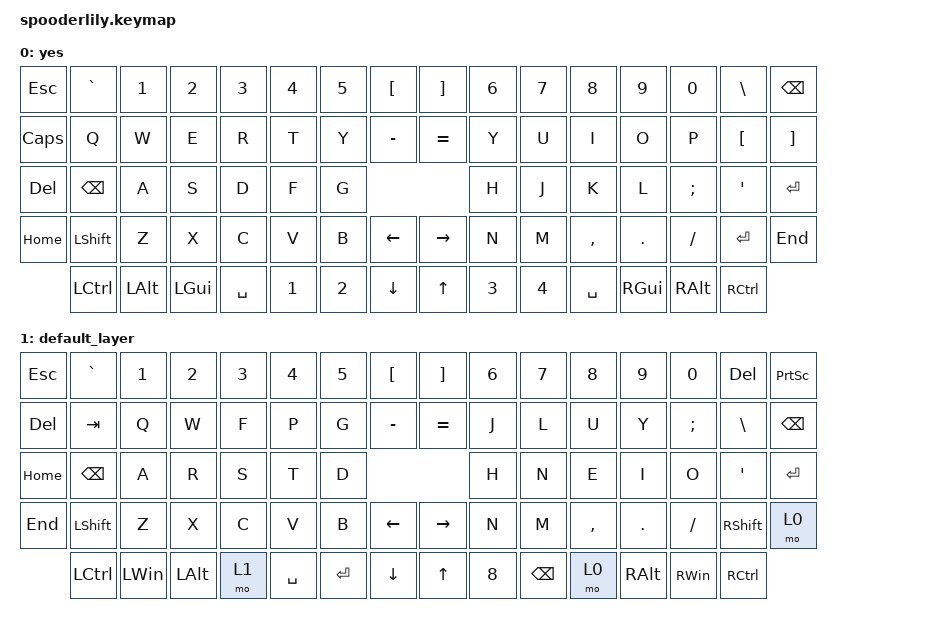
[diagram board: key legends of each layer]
/*
 * Copyright (c) 2020 The ZMK Contributors
 *
 * SPDX-License-Identifier: MIT
 */

#include <behaviors.dtsi>
#include <dt-bindings/zmk/keys.h>

/ {
    keymap {
        compatible = "zmk,keymap";

        yes {
            bindings = <
&kp ESC   &kp GRAVE  &kp N1    &kp N2    &kp N3     &kp N4  &kp N5  &kp LBKT   &kp RBKT   &kp N6  &kp N7  &kp N8     &kp N9    &kp N0    &kp BSLH   &kp BSPC
&kp CAPS  &kp Q      &kp W     &kp E     &kp R      &kp T   &kp Y   &kp MINUS  &kp EQUAL  &kp Y   &kp U   &kp I      &kp O     &kp P     &kp LBKT   &kp RBKT
&kp DEL   &kp BSPC   &kp A     &kp S     &kp D      &kp F   &kp G                         &kp H   &kp J   &kp K      &kp L     &kp SEMI  &kp SQT    &kp RET
&kp HOME  &kp LSHFT  &kp Z     &kp X     &kp C      &kp V   &kp B   &kp LEFT   &kp RIGHT  &kp N   &kp M   &kp COMMA  &kp DOT   &kp FSLH  &kp ENTER  &kp END
          &kp LCTRL  &kp LALT  &kp LGUI  &kp SPACE  &kp N1  &kp N2  &kp DOWN   &kp UP     &kp N3  &kp N4  &kp SPACE  &kp RGUI  &kp RALT  &kp RCTRL
            >;
        };

        default_layer {
            // ------------------------------------------------------------------------------------------------------------
            // |  ESC  |  1  |  2  |  3   |  4   |  5   |                   |  6   |  7    |  8    |  9   |   0   |   `   |
            // |  TAB  |  Q  |  W  |  E   |  R   |  T   |                   |  Y   |  U    |  I    |  O   |   P   |   -   |
            // |  CTRL |  A  |  S  |  D   |  F   |  G   |                   |  H   |  J    |  K    |  L   |   ;   |   '   |
            // | SHIFT |  Z  |  X  |  C   |  V   |  B   |   "["  |  |  "]"  |  N   |  M    |  ,    |  .   |   /   | SHIFT |
            //                     | ALT  | GUI  | LOWER|  SPACE |  | ENTER | RAISE| BSPC  | GUI   |

            bindings = <
&kp ESC   &kp GRAVE  &kp N1    &kp N2        &kp N3  &kp N4     &kp N5   &kp LBKT        &kp RBKT      &kp N6  &kp N7         &kp N8     &kp N9    &kp N0    &kp DELETE  &kp PRINTSCREEN
&kp DEL   &kp TAB    &kp Q     &kp W         &kp F   &kp P      &kp G    &kp MINUS       &kp EQUAL     &kp J   &kp L          &kp U      &kp Y     &kp SEMI  &kp BSLH    &kp BACKSPACE
&kp HOME  &kp BSPC   &kp A     &kp R         &kp S   &kp T      &kp D                                  &kp H   &kp N          &kp E      &kp I     &kp O     &kp SQT     &kp RET
&kp END   &kp LSHFT  &kp Z     &kp X         &kp C   &kp V      &kp B    &kp LEFT_ARROW  &kp RIGHT     &kp N   &kp M          &kp COMMA  &kp DOT   &kp FSLH  &kp RSHFT   &mo 0
          &kp LCTRL  &kp LWIN  &kp LEFT_ALT  &mo 1   &kp SPACE  &kp RET  &kp DOWN        &kp UP_ARROW  &kp N8  &kp BACKSPACE  &mo 0      &kp RALT  &kp RWIN  &kp RCTRL
            >;
        };
    };
};
